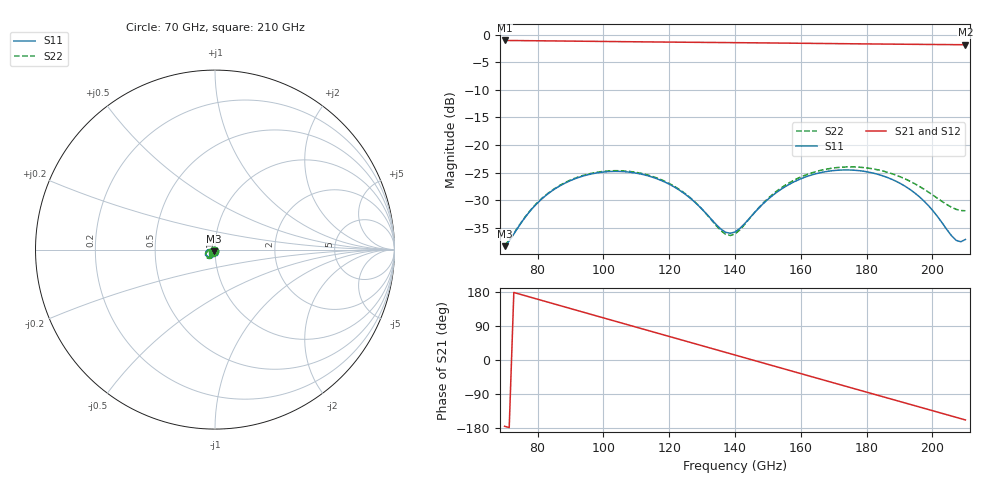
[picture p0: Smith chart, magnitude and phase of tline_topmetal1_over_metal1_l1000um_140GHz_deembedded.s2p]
! Created with skrf 2.2.0 (http://scikit-rf.org).
# GHz S DB R 50.0
! Port[1] = P1
! Port[2] = P2
!freq dBS11 angS11 dBS21 angS21 dBS12 angS12 dBS22 angS22
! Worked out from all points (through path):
!   101 points, 70 GHz to 210 GHz, reference 50 ohm
!   highest |S21| = -1.07 dB at 70 GHz (marker M1); lowest = -1.8 dB at 210 GHz (marker M2)
!   group delay of S21, straight-line fit = 6.81 ps
!   lowest |S11| = -38.3 dB at 70 GHz (marker M3), VSWR 1.02, Z = 49.3 - j1.01 ohm
!   |S11| at or under -10 dB: start of sweep to end of sweep
!   |S22| runs from -38.1 to -24.0 dB; largest |S21 - S12| = 9.4e-14
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70  -38.32 -122.7  -1.07 -174.9  -1.07 -174.9  -38.15 -123.0
77  -32.51 -95.8  -1.11 167.8  -1.11 167.8  -32.43 -95.2
81.2  -29.82 -97.9  -1.13 157.5  -1.13 157.5  -29.73 -97.1
86.8  -27.40 -106.2  -1.17 143.7  -1.17 143.7  -27.30 -105.1
93.8  -25.63 -119.6  -1.21 126.5  -1.21 126.5  -25.52 -118.3
100.8  -24.85 -134.1  -1.25 109.3  -1.25 109.3  -24.73 -132.6
106.4  -24.83 -145.6  -1.29 95.5  -1.29 95.5  -24.70 -144.0
117.6  -26.43 -166.7  -1.35 68.1  -1.35 68.1  -26.29 -165.0
124.6  -28.80 -176.0  -1.39 50.9  -1.39 50.9  -28.69 -174.3
130.2  -31.76 -176.7  -1.42 37.2  -1.42 37.2  -31.75 -175.2
137.2  -35.82 -152.0  -1.45 20.0  -1.45 20.0  -36.19 -149.1
140  -35.75 -133.2  -1.47 13.1  -1.47 13.1  -36.11 -128.2
145.6  -32.47 -111.1  -1.50 -0.6  -1.50 -0.6  -32.46 -104.6
151.2  -29.25 -109.2  -1.53 -14.4  -1.53 -14.4  -29.06 -102.7
156.8  -27.02 -115.0  -1.56 -28.1  -1.56 -28.1  -26.74 -108.4
163.8  -25.34 -126.1  -1.60 -45.2  -1.60 -45.2  -24.96 -119.1
170.8  -24.59 -138.9  -1.64 -62.4  -1.64 -62.4  -24.10 -131.1
176.4  -24.58 -149.5  -1.68 -76.1  -1.68 -76.1  -23.98 -140.9
187.6  -26.20 -169.6  -1.74 -103.4  -1.74 -103.4  -25.18 -158.3
197.4  -30.14 179.0  -1.78 -127.3  -1.78 -127.3  -28.00 -165.9
207.2  -37.27 -151.6  -1.83 -151.3  -1.83 -151.3  -31.65 -149.8
210  -37.11 -126.0  -1.84 -158.1  -1.84 -158.1  -31.91 -139.0
